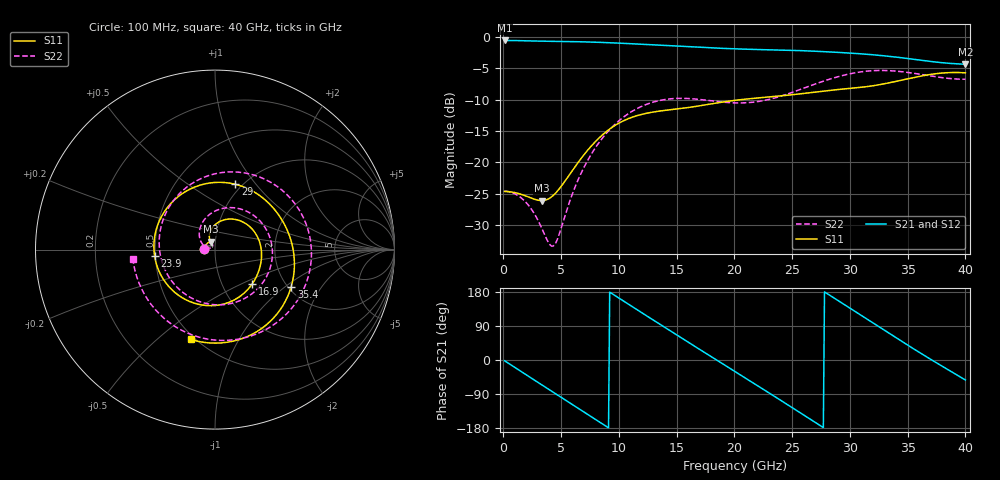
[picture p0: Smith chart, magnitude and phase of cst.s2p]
! D_s8_cap_2: L1 (ref L2 GND) → L3 (ref L4 PWR), capacitor GND–PWR at 2 mm
! stackup: 8-layer 1.6 mm FR-4 (generic)
! ports: 1, 2
! CST Studio Suite 2025.5 Release from 2025-05-30, time domain (FIT, hexahedral, PBA), 193248 mesh cells, 42 s
! mesh: {'lpw': 20, 'lpb': 20, 'minstep': 0.0, 'ratio': 20}; ports: port 1 (face); port 2 (face)
! interpolated from CST's 1001 samples to the case grid
# Hz S RI R 50
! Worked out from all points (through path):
!   400 points, 100 MHz to 40 GHz, reference 50 ohm
!   highest |S21| = -0.55 dB at 100 MHz (marker M1); lowest = -4.3 dB at 40 GHz (marker M2)
!   group delay of S21, straight-line fit = 53.8 ps
!   lowest |S11| = -26.1 dB at 3.3 GHz (marker M3), VSWR 1.10, Z = 47.5 + j4.13 ohm
!   |S11| at or under -10 dB: start of sweep to 20.52 GHz
!   |S22| runs from -33.4 to -5.3 dB; largest |S21 - S12| = 0.00086
!   S11 on the Smith chart (normalised r, x): 100 MHz: 0.89, +0.00; 16.9 GHz: 1.39, -0.57; 23.9 GHz: 0.50, -0.04; 29 GHz: 0.93, +0.79; 35.4 GHz: 2.08, -1.10; 40 GHz: 0.47, -0.65
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1e8  -0.0586 0.00276  0.9381 -0.0326  0.9381 -0.0326  -0.0589 0.00266
1.6e9  -0.0424 0.0355  0.7943 -0.4922  0.7943 -0.4923  -0.0396 0.0329
3.3e9  -0.0239 0.0434  0.3893 -0.8407  0.3892 -0.8407  -0.0132 0.027
4.4e9  -0.0263 0.0488  0.0541 -0.9215  0.0541 -0.9213  -0.0178 0.0127
6.8e9  -0.0234 0.1073  -0.6336 -0.661  -0.6337 -0.6612  -0.0754 0.0389
8.3e9  0.0244 0.1553  -0.8688 -0.2602  -0.8689 -0.26  -0.0834 0.1185
9.8e9  0.1087 0.1687  -0.8732 0.1979  -0.873 0.1978  -0.0153 0.2063
1.17e10  0.2107 0.1103  -0.5661 0.6712  -0.5663 0.6713  0.1605 0.2203
1.34e10  0.2552 0.0159  -0.1078 0.8554  -0.1075 0.8555  0.2954 0.0933
1.5e10  0.2544 -0.0799  0.3414 0.7759  0.3412 0.7757  0.3093 -0.0955
1.69e10  0.2085 -0.1894  0.721 0.4107  0.7211 0.411  0.1635 -0.273
1.85e10  0.1224 -0.2718  0.8155 -0.0132  0.8156 -0.0135  -0.0258 -0.3046
2.01e10  -0.0168 -0.3125  0.6864 -0.4194  0.6861 -0.4192  -0.1945 -0.2258
2.21e10  -0.2228 -0.2394  0.2764 -0.7445  0.2766 -0.7448  -0.3047 -0.0299
2.39e10  -0.3363 -0.0374  -0.1943 -0.763  -0.1947 -0.7628  -0.2866 0.173
2.67e10  -0.1845 0.3105  -0.72 -0.279  -0.7201 -0.2794  -0.0408 0.4106
2.9e10  0.1134 0.364  -0.69 0.3033  -0.6897 0.3037  0.292 0.385
3.13e10  0.333 0.2217  -0.2642 0.6808  -0.2647 0.6807  0.5261 0.0805
3.34e10  0.4304 0.0241  0.2379 0.6596  0.2385 0.6596  0.4503 -0.2964
3.54e10  0.425 -0.2056  0.5675 0.3496  0.5668 0.3496  0.1351 -0.4978
3.75e10  0.2592 -0.4398  0.625 -0.082  0.6258 -0.0822  -0.2389 -0.4175
4e10  -0.1362 -0.5  0.3668 -0.4829  0.3663 -0.4821  -0.4577 -0.0511
